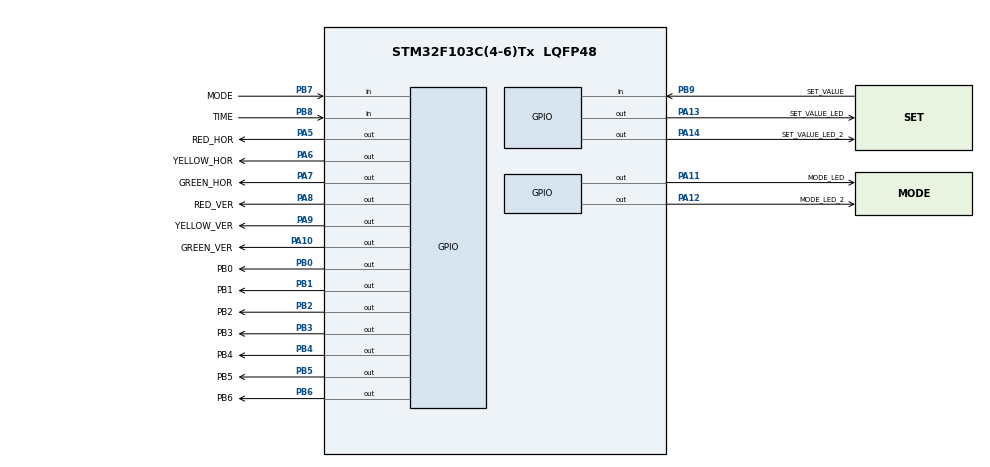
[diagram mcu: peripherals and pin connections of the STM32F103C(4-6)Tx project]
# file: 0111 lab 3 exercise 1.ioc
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Mcu.Family=STM32F1
Mcu.Name=STM32F103C(4-6)Tx
Mcu.Package=LQFP48
NVIC.PriorityGroup=NVIC_PRIORITYGROUP_4
NVIC.TIM2_IRQn=true\:0\:0\:false\:false\:true\:true\:true
PA10.GPIO_Label=GREEN_VER
PA10.Signal=GPIO_Output
PA11.GPIO_Label=MODE_LED
PA11.Signal=GPIO_Output
PA12.GPIO_Label=MODE_LED_2
PA12.Signal=GPIO_Output
PA13.GPIO_Label=SET_VALUE_LED
PA13.Signal=GPIO_Output
PA14.GPIO_Label=SET_VALUE_LED_2
PA14.Signal=GPIO_Output
PA5.GPIO_Label=RED_HOR
PA5.Signal=GPIO_Output
PA6.GPIO_Label=YELLOW_HOR
PA6.Signal=GPIO_Output
PA7.GPIO_Label=GREEN_HOR
PA7.Signal=GPIO_Output
PA8.GPIO_Label=RED_VER
PA8.Signal=GPIO_Output
PA9.GPIO_Label=YELLOW_VER
PA9.Signal=GPIO_Output
PB0.GPIO_Label=PB0
PB0.Signal=GPIO_Output
PB1.GPIO_Label=PB1
PB1.Signal=GPIO_Output
PB2.GPIO_Label=PB2
PB2.Signal=GPIO_Output
PB3.GPIO_Label=PB3
PB3.Signal=GPIO_Output
PB4.GPIO_Label=PB4
PB4.Signal=GPIO_Output
PB5.GPIO_Label=PB5
PB5.Signal=GPIO_Output
PB6.GPIO_Label=PB6
PB6.Signal=GPIO_Output
PB7.GPIO_Label=MODE
PB7.GPIO_PuPd=GPIO_PULLUP
PB7.Signal=GPIO_Input
PB8.GPIO_Label=TIME
PB8.GPIO_PuPd=GPIO_PULLUP
PB8.Signal=GPIO_Input
PB9.GPIO_Label=SET_VALUE
PB9.GPIO_PuPd=GPIO_PULLUP
PB9.Signal=GPIO_Input
ProjectManager.HeapSize=0x200
ProjectManager.StackSize=0x400
ProjectManager.TargetToolchain=STM32CubeIDE
RCC.APB1Freq_Value=8000000
RCC.APB2Freq_Value=8000000
TIM2.Period=9
TIM2.Prescaler=7999
VP_SYS_VS_ND.Mode=No_Debug
VP_TIM2_VS_ClockSourceINT.Mode=Internal
board=custom

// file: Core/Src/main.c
/* USER CODE BEGIN Header */
/**
  ******************************************************************************
  * @file           : main.c
  * @brief          : Main program body
  ******************************************************************************
  * @attention
  *
  * <h2><center>&copy; Copyright (c) 2022 STMicroelectronics.
  * All rights reserved.</center></h2>
  *
  * This software component is licensed by ST under BSD 3-Clause license,
  * the "License"; You may not use this file except in compliance with the
  * License. You may obtain a copy of the License at:
  *                        opensource.org/licenses/BSD-3-Clause
  *
  ******************************************************************************
  */
/* USER CODE END Header */
#include "main.h"

/* USER CODE BEGIN Includes */
#include "global.h"
#include "fsm_7seg_led.h"
#include "fsm_mode_change.h"
#include "fsm_traffic_light.h"
/* USER CODE END Includes */

TIM_HandleTypeDef htim2;

void SystemClock_Config(void);
static void MX_TIM2_Init(void);
static void MX_GPIO_Init(void);

int main(void)
{

  /* MCU Configuration--------------------------------------------------------*/

  /* Reset of all peripherals, Initializes the Flash interface and the Systick. */
  HAL_Init();

  /* Configure the system clock */
  SystemClock_Config();

  /* Initialize all configured peripherals */
  MX_TIM2_Init();
  MX_GPIO_Init();
  /* USER CODE BEGIN 2 */
  HAL_TIM_Base_Start_IT(&htim2);
  startAllButton();
  startAllTimer();
  OffAllLed();
  offAllTrafficLight();
  mode=NORMAL_MODE;
  setTimer(250,2);
  /* USER CODE END 2 */

  /* Infinite loop */
  /* USER CODE BEGIN WHILE */

  while (1)
  {
	  fsm_mode_change();
	  fsm_7seg_led();
	  fsm_traffic_light();
    /* USER CODE END WHILE */

  }
}

void SystemClock_Config(void)
{
  RCC_OscInitTypeDef RCC_OscInitStruct = {0};
  RCC_ClkInitTypeDef RCC_ClkInitStruct = {0};

  /** Initializes the RCC Oscillators according to the specified parameters
  * in the RCC_OscInitTypeDef structure.
  */
  RCC_OscInitStruct.OscillatorType = RCC_OSCILLATORTYPE_HSI;
  RCC_OscInitStruct.HSIState = RCC_HSI_ON;
  RCC_OscInitStruct.HSICalibrationValue = RCC_HSICALIBRATION_DEFAULT;
  RCC_OscInitStruct.PLL.PLLState = RCC_PLL_NONE;
  if (HAL_RCC_OscConfig(&RCC_OscInitStruct) != HAL_OK)
  {
    Error_Handler();
  }
  /** Initializes the CPU, AHB and APB buses clocks
  */
  RCC_ClkInitStruct.ClockType = RCC_CLOCKTYPE_HCLK|RCC_CLOCKTYPE_SYSCLK
                              |RCC_CLOCKTYPE_PCLK1|RCC_CLOCKTYPE_PCLK2;
  RCC_ClkInitStruct.SYSCLKSource = RCC_SYSCLKSOURCE_HSI;
  RCC_ClkInitStruct.AHBCLKDivider = RCC_SYSCLK_DIV1;
  RCC_ClkInitStruct.APB1CLKDivider = RCC_HCLK_DIV1;
  RCC_ClkInitStruct.APB2CLKDivider = RCC_HCLK_DIV1;

  if (HAL_RCC_ClockConfig(&RCC_ClkInitStruct, FLASH_LATENCY_0) != HAL_OK)
  {
    Error_Handler();
  }
}

static void MX_TIM2_Init(void)
{

  TIM_ClockConfigTypeDef sClockSourceConfig = {0};
  TIM_MasterConfigTypeDef sMasterConfig = {0};

  htim2.Instance = TIM2;
  htim2.Init.Prescaler = 7999;
  htim2.Init.CounterMode = TIM_COUNTERMODE_UP;
  htim2.Init.Period = 9;
  htim2.Init.ClockDivision = TIM_CLOCKDIVISION_DIV1;
  htim2.Init.AutoReloadPreload = TIM_AUTORELOAD_PRELOAD_DISABLE;
  if (HAL_TIM_Base_Init(&htim2) != HAL_OK)
  {
    Error_Handler();
  }
  sClockSourceConfig.ClockSource = TIM_CLOCKSOURCE_INTERNAL;
  if (HAL_TIM_ConfigClockSource(&htim2, &sClockSourceConfig) != HAL_OK)
  {
    Error_Handler();
  }
  sMasterConfig.MasterOutputTrigger = TIM_TRGO_RESET;
  sMasterConfig.MasterSlaveMode = TIM_MASTERSLAVEMODE_DISABLE;
  if (HAL_TIMEx_MasterConfigSynchronization(&htim2, &sMasterConfig) != HAL_OK)
  {
    Error_Handler();
  }

}

static void MX_GPIO_Init(void)
{
  GPIO_InitTypeDef GPIO_InitStruct = {0};

  /* GPIO Ports Clock Enable */
  __HAL_RCC_GPIOA_CLK_ENABLE();
  __HAL_RCC_GPIOB_CLK_ENABLE();

  /*Configure GPIO pin Output Level */
  HAL_GPIO_WritePin(GPIOA, RED_HOR_Pin|YELLOW_HOR_Pin|GREEN_HOR_Pin|RED_VER_Pin
                          |YELLOW_VER_Pin|GREEN_VER_Pin|MODE_LED_Pin|MODE_LED_2_Pin
                          |SET_VALUE_LED_Pin|SET_VALUE_LED_2_Pin, GPIO_PIN_RESET);

  /*Configure GPIO pin Output Level */
  HAL_GPIO_WritePin(GPIOB, PB0_Pin|PB1_Pin|PB2_Pin|PB3_Pin
                          |PB4_Pin|PB5_Pin|PB6_Pin, GPIO_PIN_RESET);

  /*Configure GPIO pins : RED_HOR_Pin YELLOW_HOR_Pin GREEN_HOR_Pin RED_VER_Pin
                           YELLOW_VER_Pin GREEN_VER_Pin MODE_LED_Pin MODE_LED_2_Pin
                           SET_VALUE_LED_Pin SET_VALUE_LED_2_Pin */
  GPIO_InitStruct.Pin = RED_HOR_Pin|YELLOW_HOR_Pin|GREEN_HOR_Pin|RED_VER_Pin
                          |YELLOW_VER_Pin|GREEN_VER_Pin|MODE_LED_Pin|MODE_LED_2_Pin
                          |SET_VALUE_LED_Pin|SET_VALUE_LED_2_Pin;
  GPIO_InitStruct.Mode = GPIO_MODE_OUTPUT_PP;
  GPIO_InitStruct.Pull = GPIO_NOPULL;
  GPIO_InitStruct.Speed = GPIO_SPEED_FREQ_LOW;
  HAL_GPIO_Init(GPIOA, &GPIO_InitStruct);

  /*Configure GPIO pins : PB0_Pin PB1_Pin PB2_Pin PB3_Pin
                           PB4_Pin PB5_Pin PB6_Pin */
  GPIO_InitStruct.Pin = PB0_Pin|PB1_Pin|PB2_Pin|PB3_Pin
                          |PB4_Pin|PB5_Pin|PB6_Pin;
  GPIO_InitStruct.Mode = GPIO_MODE_OUTPUT_PP;
  GPIO_InitStruct.Pull = GPIO_NOPULL;
  GPIO_InitStruct.Speed = GPIO_SPEED_FREQ_LOW;
  HAL_GPIO_Init(GPIOB, &GPIO_InitStruct);

  /*Configure GPIO pins : MODE_Pin TIME_Pin SET_VALUE_Pin */
  GPIO_InitStruct.Pin = MODE_Pin|TIME_Pin|SET_VALUE_Pin;
  GPIO_InitStruct.Mode = GPIO_MODE_INPUT;
  GPIO_InitStruct.Pull = GPIO_PULLUP;
  HAL_GPIO_Init(GPIOB, &GPIO_InitStruct);

}

/* USER CODE BEGIN 4 */
void HAL_TIM_PeriodElapsedCallback(TIM_HandleTypeDef *htim){
	if(htim -> Instance == TIM2 )
	{
	timerRun();
	getKeyInput();
	}
}
/* USER CODE END 4 */

void Error_Handler(void)
{
  __disable_irq();
  while (1)
  {
  }
}

/************************ (C) COPYRIGHT STMicroelectronics *****END OF FILE****/
